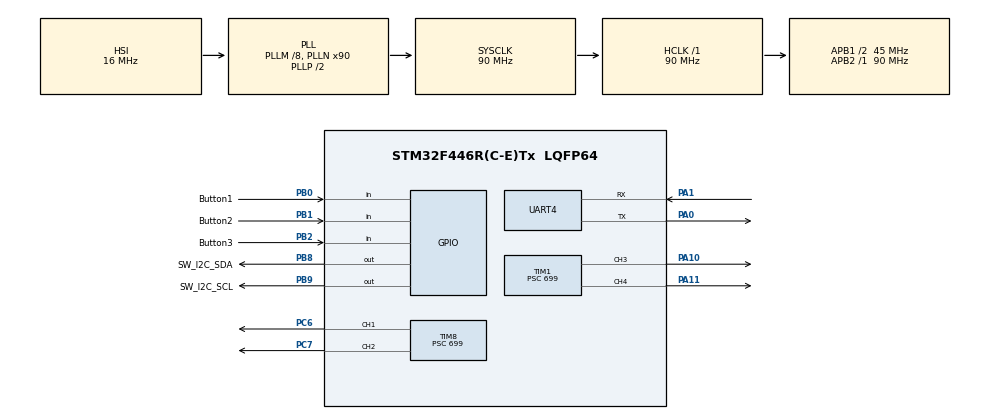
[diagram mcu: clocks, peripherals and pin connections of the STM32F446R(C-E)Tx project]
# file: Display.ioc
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Mcu.Family=STM32F4
Mcu.Name=STM32F446R(C-E)Tx
Mcu.Package=LQFP64
NVIC.PriorityGroup=NVIC_PRIORITYGROUP_0
NVIC.TIM3_IRQn=true\:0\:0\:false\:false\:true\:true\:true\:true
NVIC.UART4_IRQn=true\:0\:0\:false\:false\:true\:true\:true\:true
PA0-WKUP.Mode=Asynchronous
PA0-WKUP.Signal=UART4_TX
PA1.Mode=Asynchronous
PA1.Signal=UART4_RX
PA10.Signal=S_TIM1_CH3
PA11.Signal=S_TIM1_CH4
PA13.GPIO_Label=TMS
PA13.Mode=Serial_Wire
PA13.Signal=SYS_JTMS-SWDIO
PA14.GPIO_Label=TCK
PA14.Mode=Serial_Wire
PA14.Signal=SYS_JTCK-SWCLK
PB0.GPIO_Label=Button1
PB0.Signal=GPIO_Input
PB1.GPIO_Label=Button2
PB1.Signal=GPIO_Input
PB2.GPIO_Label=Button3
PB2.Signal=GPIO_Input
PB3.Signal=SYS_JTDO-SWO
PB8.GPIO_Label=SW_I2C_SDA
PB8.GPIO_ModeDefaultOutputPP=GPIO_MODE_OUTPUT_OD
PB8.GPIO_PuPd=GPIO_PULLUP
PB8.GPIO_Speed=GPIO_SPEED_FREQ_VERY_HIGH
PB8.Signal=GPIO_Output
PB9.GPIO_Label=SW_I2C_SCL
PB9.GPIO_ModeDefaultOutputPP=GPIO_MODE_OUTPUT_OD
PB9.GPIO_PuPd=GPIO_PULLUP
PB9.GPIO_Speed=GPIO_SPEED_FREQ_VERY_HIGH
PB9.Signal=GPIO_Output
PC6.Signal=S_TIM8_CH1
PC7.Signal=S_TIM8_CH2
ProjectManager.HeapSize=0x200
ProjectManager.StackSize=0x400
ProjectManager.TargetToolchain=STM32CubeIDE
RCC.48MHZClocksFreq_Value=84000000
RCC.AHBFreq_Value=90000000
RCC.APB1CLKDivider=RCC_HCLK_DIV2
RCC.APB1Freq_Value=45000000
RCC.APB1TimFreq_Value=90000000
RCC.APB2Freq_Value=90000000
RCC.APB2TimFreq_Value=90000000
RCC.CortexFreq_Value=90000000
RCC.FLatency-AdvancedSettings=FLASH_LATENCY_2
RCC.HCLKFreq_Value=90000000
RCC.HSE_VALUE=8000000
RCC.HSI_VALUE=16000000
RCC.PLLM=8
RCC.PLLN=90
RCC.SYSCLKFreq_VALUE=90000000
RCC.SYSCLKSource=RCC_SYSCLKSOURCE_PLLCLK
RCC.USBFreq_Value=90000000
RCC.VCOOutputFreq_Value=180000000
SH.S_TIM1_CH3.0=TIM1_CH3,PWM Generation3 CH3
SH.S_TIM1_CH4.0=TIM1_CH4,PWM Generation4 CH4
SH.S_TIM8_CH1.0=TIM8_CH1,PWM Generation1 CH1
SH.S_TIM8_CH2.0=TIM8_CH2,PWM Generation2 CH2
TIM1.AutoReloadPreload=TIM_AUTORELOAD_PRELOAD_ENABLE
TIM1.Channel-PWM\ Generation3\ CH3=TIM_CHANNEL_3
TIM1.Channel-PWM\ Generation4\ CH4=TIM_CHANNEL_4
TIM1.CounterMode=TIM_COUNTERMODE_CENTERALIGNED1
TIM1.OCMode_PWM-PWM\ Generation4\ CH4=TIM_OCMODE_PWM2
TIM1.Period=6
TIM1.Prescaler=699
TIM1.RepetitionCounter=0
TIM1.TIM_MasterOutputTrigger=TIM_TRGO_RESET
TIM1.TIM_MasterSlaveMode=TIM_MASTERSLAVEMODE_DISABLE
TIM2.AutoReloadPreload=TIM_AUTORELOAD_PRELOAD_ENABLE
TIM2.Period=1
TIM2.Prescaler=5
TIM2.TIM_MasterOutputTrigger=TIM_TRGO_UPDATE
TIM2.TIM_MasterSlaveMode=TIM_MASTERSLAVEMODE_ENABLE
TIM3.Period=99
TIM3.Prescaler=8399
TIM8.AutoReloadPreload=TIM_AUTORELOAD_PRELOAD_ENABLE
TIM8.Channel-PWM\ Generation1\ CH1=TIM_CHANNEL_1
TIM8.Channel-PWM\ Generation2\ CH2=TIM_CHANNEL_2
TIM8.CounterMode=TIM_COUNTERMODE_CENTERALIGNED1
TIM8.OCMode_PWM-PWM\ Generation1\ CH1=TIM_OCMODE_PWM2
TIM8.OCMode_PWM-PWM\ Generation2\ CH2=TIM_OCMODE_PWM1
TIM8.Period=6
TIM8.Prescaler=699
UART4.Parity=PARITY_EVEN
UART4.StopBits=UART_STOPBITS_1
UART4.VirtualMode=Asynchronous
UART4.WordLength=WORDLENGTH_9B
VP_TIM1_VS_ClockSourceITR.Mode=TriggerSource_ITR1
VP_TIM1_VS_ControllerModeClock.Mode=Clock Mode
VP_TIM2_VS_ClockSourceINT.Mode=Internal
VP_TIM3_VS_ClockSourceINT.Mode=Internal
VP_TIM8_VS_ClockSourceITR.Mode=TriggerSource_ITR1
VP_TIM8_VS_ControllerModeClock.Mode=Clock Mode
board=NUCLEO-F446RE

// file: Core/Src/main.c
/* USER CODE BEGIN Header */
/**
  ******************************************************************************
  * @file           : main.c
  * @brief          : Main program body
  ******************************************************************************
  * @attention
  *
  * Copyright (c) 2025 STMicroelectronics.
  * All rights reserved.
  *
  * This software is licensed under terms that can be found in the LICENSE file
  * in the root directory of this software component.
  * If no LICENSE file comes with this software, it is provided AS-IS.
  *
  ******************************************************************************
  */
/* USER CODE END Header */
#include "main.h"

/* USER CODE BEGIN Includes */
#include "stm32_sw_i2c.h"
#include "dwt_stm32_delay.h"
#include "Adafruit_LEDBackpack.h"

/* USER CODE END Includes */

/* USER CODE BEGIN PD */
#define RECIEVE_LENGTH 9
/* USER CODE END PD */

TIM_HandleTypeDef htim1;
TIM_HandleTypeDef htim2;
TIM_HandleTypeDef htim3;
TIM_HandleTypeDef htim8;

UART_HandleTypeDef huart4;

/* USER CODE BEGIN PV */
uint8_t msFlag = 0;
uint8_t rxFlag = 0;

uint8_t rx_buff[RECIEVE_LENGTH];

uint32_t stepperFreq = 100;

DisplayData test;
/* USER CODE END PV */

void SystemClock_Config(void);
static void MX_GPIO_Init(void);
static void MX_TIM1_Init(void);
static void MX_TIM8_Init(void);
static void MX_TIM2_Init(void);
static void MX_TIM3_Init(void);
static void MX_UART4_Init(void);

int main(void)
{

  /* MCU Configuration--------------------------------------------------------*/

  /* Reset of all peripherals, Initializes the Flash interface and the Systick. */
  HAL_Init();

  /* Configure the system clock */
  SystemClock_Config();

  /* Initialize all configured peripherals */
  MX_GPIO_Init();
  MX_TIM1_Init();
  MX_TIM8_Init();
  MX_TIM2_Init();
  MX_TIM3_Init();
  MX_UART4_Init();
  /* USER CODE BEGIN 2 */

  I2C_init();
  DWT_Delay_Init();
  HAL_Delay(1);

  TIM8->CNT = 2;

  begin(0x70 <<1);
  begin(0x71 <<1);

  clear();
  writeDisplay();

for (uint8_t i = 0; i < 8; ++i) {
	writeDigitAscii(i, i+65, false);
	//writeDigitRaw(i, 0xFFFF);

}

HAL_UART_Receive_IT(&huart4, rx_buff, RECIEVE_LENGTH);

changeFreq(stepperFreq);

writeDisplay();

analogStart();

  /* USER CODE END 2 */

  /* Infinite loop */
  /* USER CODE BEGIN WHILE */
  while (1)
  {
	  if(msFlag){
		  msHandler();
	  }

	  if(rxFlag){
	  		  rxHandler(&test);
	  	  }

    /* USER CODE END WHILE */

  }
}

void SystemClock_Config(void)
{
  RCC_OscInitTypeDef RCC_OscInitStruct = {0};
  RCC_ClkInitTypeDef RCC_ClkInitStruct = {0};

  /** Configure the main internal regulator output voltage
  */
  __HAL_RCC_PWR_CLK_ENABLE();
  __HAL_PWR_VOLTAGESCALING_CONFIG(PWR_REGULATOR_VOLTAGE_SCALE3);

  /** Initializes the RCC Oscillators according to the specified parameters
  * in the RCC_OscInitTypeDef structure.
  */
  RCC_OscInitStruct.OscillatorType = RCC_OSCILLATORTYPE_HSI;
  RCC_OscInitStruct.HSIState = RCC_HSI_ON;
  RCC_OscInitStruct.HSICalibrationValue = RCC_HSICALIBRATION_DEFAULT;
  RCC_OscInitStruct.PLL.PLLState = RCC_PLL_ON;
  RCC_OscInitStruct.PLL.PLLSource = RCC_PLLSOURCE_HSI;
  RCC_OscInitStruct.PLL.PLLM = 8;
  RCC_OscInitStruct.PLL.PLLN = 90;
  RCC_OscInitStruct.PLL.PLLP = RCC_PLLP_DIV2;
  RCC_OscInitStruct.PLL.PLLQ = 2;
  RCC_OscInitStruct.PLL.PLLR = 2;
  if (HAL_RCC_OscConfig(&RCC_OscInitStruct) != HAL_OK)
  {
    Error_Handler();
  }

  /** Initializes the CPU, AHB and APB buses clocks
  */
  RCC_ClkInitStruct.ClockType = RCC_CLOCKTYPE_HCLK|RCC_CLOCKTYPE_SYSCLK
                              |RCC_CLOCKTYPE_PCLK1|RCC_CLOCKTYPE_PCLK2;
  RCC_ClkInitStruct.SYSCLKSource = RCC_SYSCLKSOURCE_PLLCLK;
  RCC_ClkInitStruct.AHBCLKDivider = RCC_SYSCLK_DIV1;
  RCC_ClkInitStruct.APB1CLKDivider = RCC_HCLK_DIV2;
  RCC_ClkInitStruct.APB2CLKDivider = RCC_HCLK_DIV1;

  if (HAL_RCC_ClockConfig(&RCC_ClkInitStruct, FLASH_LATENCY_2) != HAL_OK)
  {
    Error_Handler();
  }
}

static void MX_TIM1_Init(void)
{

  TIM_SlaveConfigTypeDef sSlaveConfig = {0};
  TIM_MasterConfigTypeDef sMasterConfig = {0};
  TIM_OC_InitTypeDef sConfigOC = {0};
  TIM_BreakDeadTimeConfigTypeDef sBreakDeadTimeConfig = {0};

  htim1.Instance = TIM1;
  htim1.Init.Prescaler = 699;
  htim1.Init.CounterMode = TIM_COUNTERMODE_CENTERALIGNED1;
  htim1.Init.Period = 6;
  htim1.Init.ClockDivision = TIM_CLOCKDIVISION_DIV1;
  htim1.Init.RepetitionCounter = 0;
  htim1.Init.AutoReloadPreload = TIM_AUTORELOAD_PRELOAD_ENABLE;
  if (HAL_TIM_Base_Init(&htim1) != HAL_OK)
  {
    Error_Handler();
  }
  if (HAL_TIM_PWM_Init(&htim1) != HAL_OK)
  {
    Error_Handler();
  }
  sSlaveConfig.SlaveMode = TIM_SLAVEMODE_EXTERNAL1;
  sSlaveConfig.InputTrigger = TIM_TS_ITR1;
  if (HAL_TIM_SlaveConfigSynchro(&htim1, &sSlaveConfig) != HAL_OK)
  {
    Error_Handler();
  }
  sMasterConfig.MasterOutputTrigger = TIM_TRGO_RESET;
  sMasterConfig.MasterSlaveMode = TIM_MASTERSLAVEMODE_DISABLE;
  if (HAL_TIMEx_MasterConfigSynchronization(&htim1, &sMasterConfig) != HAL_OK)
  {
    Error_Handler();
  }
  sConfigOC.OCMode = TIM_OCMODE_PWM1;
  sConfigOC.Pulse = 0;
  sConfigOC.OCPolarity = TIM_OCPOLARITY_HIGH;
  sConfigOC.OCNPolarity = TIM_OCNPOLARITY_HIGH;
  sConfigOC.OCFastMode = TIM_OCFAST_DISABLE;
  sConfigOC.OCIdleState = TIM_OCIDLESTATE_RESET;
  sConfigOC.OCNIdleState = TIM_OCNIDLESTATE_RESET;
  if (HAL_TIM_PWM_ConfigChannel(&htim1, &sConfigOC, TIM_CHANNEL_3) != HAL_OK)
  {
    Error_Handler();
  }
  sConfigOC.OCMode = TIM_OCMODE_PWM2;
  if (HAL_TIM_PWM_ConfigChannel(&htim1, &sConfigOC, TIM_CHANNEL_4) != HAL_OK)
  {
    Error_Handler();
  }
  sBreakDeadTimeConfig.OffStateRunMode = TIM_OSSR_DISABLE;
  sBreakDeadTimeConfig.OffStateIDLEMode = TIM_OSSI_DISABLE;
  sBreakDeadTimeConfig.LockLevel = TIM_LOCKLEVEL_OFF;
  sBreakDeadTimeConfig.DeadTime = 0;
  sBreakDeadTimeConfig.BreakState = TIM_BREAK_DISABLE;
  sBreakDeadTimeConfig.BreakPolarity = TIM_BREAKPOLARITY_HIGH;
  sBreakDeadTimeConfig.AutomaticOutput = TIM_AUTOMATICOUTPUT_DISABLE;
  if (HAL_TIMEx_ConfigBreakDeadTime(&htim1, &sBreakDeadTimeConfig) != HAL_OK)
  {
    Error_Handler();
  }
  HAL_TIM_MspPostInit(&htim1);

}

static void MX_TIM2_Init(void)
{

  TIM_ClockConfigTypeDef sClockSourceConfig = {0};
  TIM_MasterConfigTypeDef sMasterConfig = {0};

  htim2.Instance = TIM2;
  htim2.Init.Prescaler = 5;
  htim2.Init.CounterMode = TIM_COUNTERMODE_UP;
  htim2.Init.Period = 1;
  htim2.Init.ClockDivision = TIM_CLOCKDIVISION_DIV1;
  htim2.Init.AutoReloadPreload = TIM_AUTORELOAD_PRELOAD_ENABLE;
  if (HAL_TIM_Base_Init(&htim2) != HAL_OK)
  {
    Error_Handler();
  }
  sClockSourceConfig.ClockSource = TIM_CLOCKSOURCE_INTERNAL;
  if (HAL_TIM_ConfigClockSource(&htim2, &sClockSourceConfig) != HAL_OK)
  {
    Error_Handler();
  }
  sMasterConfig.MasterOutputTrigger = TIM_TRGO_UPDATE;
  sMasterConfig.MasterSlaveMode = TIM_MASTERSLAVEMODE_ENABLE;
  if (HAL_TIMEx_MasterConfigSynchronization(&htim2, &sMasterConfig) != HAL_OK)
  {
    Error_Handler();
  }

}

static void MX_TIM3_Init(void)
{

  TIM_ClockConfigTypeDef sClockSourceConfig = {0};
  TIM_MasterConfigTypeDef sMasterConfig = {0};

  htim3.Instance = TIM3;
  htim3.Init.Prescaler = 8399;
  htim3.Init.CounterMode = TIM_COUNTERMODE_UP;
  htim3.Init.Period = 99;
  htim3.Init.ClockDivision = TIM_CLOCKDIVISION_DIV1;
  htim3.Init.AutoReloadPreload = TIM_AUTORELOAD_PRELOAD_DISABLE;
  if (HAL_TIM_Base_Init(&htim3) != HAL_OK)
  {
    Error_Handler();
  }
  sClockSourceConfig.ClockSource = TIM_CLOCKSOURCE_INTERNAL;
  if (HAL_TIM_ConfigClockSource(&htim3, &sClockSourceConfig) != HAL_OK)
  {
    Error_Handler();
  }
  sMasterConfig.MasterOutputTrigger = TIM_TRGO_RESET;
  sMasterConfig.MasterSlaveMode = TIM_MASTERSLAVEMODE_DISABLE;
  if (HAL_TIMEx_MasterConfigSynchronization(&htim3, &sMasterConfig) != HAL_OK)
  {
    Error_Handler();
  }

}

static void MX_TIM8_Init(void)
{

  TIM_SlaveConfigTypeDef sSlaveConfig = {0};
  TIM_MasterConfigTypeDef sMasterConfig = {0};
  TIM_OC_InitTypeDef sConfigOC = {0};
  TIM_BreakDeadTimeConfigTypeDef sBreakDeadTimeConfig = {0};

  htim8.Instance = TIM8;
  htim8.Init.Prescaler = 699;
  htim8.Init.CounterMode = TIM_COUNTERMODE_CENTERALIGNED1;
  htim8.Init.Period = 6;
  htim8.Init.ClockDivision = TIM_CLOCKDIVISION_DIV1;
  htim8.Init.RepetitionCounter = 0;
  htim8.Init.AutoReloadPreload = TIM_AUTORELOAD_PRELOAD_ENABLE;
  if (HAL_TIM_Base_Init(&htim8) != HAL_OK)
  {
    Error_Handler();
  }
  if (HAL_TIM_PWM_Init(&htim8) != HAL_OK)
  {
    Error_Handler();
  }
  sSlaveConfig.SlaveMode = TIM_SLAVEMODE_EXTERNAL1;
  sSlaveConfig.InputTrigger = TIM_TS_ITR1;
  if (HAL_TIM_SlaveConfigSynchro(&htim8, &sSlaveConfig) != HAL_OK)
  {
    Error_Handler();
  }
  sMasterConfig.MasterOutputTrigger = TIM_TRGO_RESET;
  sMasterConfig.MasterSlaveMode = TIM_MASTERSLAVEMODE_DISABLE;
  if (HAL_TIMEx_MasterConfigSynchronization(&htim8, &sMasterConfig) != HAL_OK)
  {
    Error_Handler();
  }
  sConfigOC.OCMode = TIM_OCMODE_PWM2;
  sConfigOC.Pulse = 0;
  sConfigOC.OCPolarity = TIM_OCPOLARITY_HIGH;
  sConfigOC.OCNPolarity = TIM_OCNPOLARITY_HIGH;
  sConfigOC.OCFastMode = TIM_OCFAST_DISABLE;
  sConfigOC.OCIdleState = TIM_OCIDLESTATE_RESET;
  sConfigOC.OCNIdleState = TIM_OCNIDLESTATE_RESET;
  if (HAL_TIM_PWM_ConfigChannel(&htim8, &sConfigOC, TIM_CHANNEL_1) != HAL_OK)
  {
    Error_Handler();
  }
  sConfigOC.OCMode = TIM_OCMODE_PWM1;
  if (HAL_TIM_PWM_ConfigChannel(&htim8, &sConfigOC, TIM_CHANNEL_2) != HAL_OK)
  {
    Error_Handler();
  }
  sBreakDeadTimeConfig.OffStateRunMode = TIM_OSSR_DISABLE;
  sBreakDeadTimeConfig.OffStateIDLEMode = TIM_OSSI_DISABLE;
  sBreakDeadTimeConfig.LockLevel = TIM_LOCKLEVEL_OFF;
  sBreakDeadTimeConfig.DeadTime = 0;
  sBreakDeadTimeConfig.BreakState = TIM_BREAK_DISABLE;
  sBreakDeadTimeConfig.BreakPolarity = TIM_BREAKPOLARITY_HIGH;
  sBreakDeadTimeConfig.AutomaticOutput = TIM_AUTOMATICOUTPUT_DISABLE;
  if (HAL_TIMEx_ConfigBreakDeadTime(&htim8, &sBreakDeadTimeConfig) != HAL_OK)
  {
    Error_Handler();
  }
  HAL_TIM_MspPostInit(&htim8);

}

static void MX_UART4_Init(void)
{

  huart4.Instance = UART4;
  huart4.Init.BaudRate = 115200;
  huart4.Init.WordLength = UART_WORDLENGTH_9B;
  huart4.Init.StopBits = UART_STOPBITS_1;
  huart4.Init.Parity = UART_PARITY_EVEN;
  huart4.Init.Mode = UART_MODE_TX_RX;
  huart4.Init.HwFlowCtl = UART_HWCONTROL_NONE;
  huart4.Init.OverSampling = UART_OVERSAMPLING_16;
  if (HAL_UART_Init(&huart4) != HAL_OK)
  {
    Error_Handler();
  }

}

static void MX_GPIO_Init(void)
{
  GPIO_InitTypeDef GPIO_InitStruct = {0};

  /* GPIO Ports Clock Enable */
  __HAL_RCC_GPIOA_CLK_ENABLE();
  __HAL_RCC_GPIOB_CLK_ENABLE();
  __HAL_RCC_GPIOC_CLK_ENABLE();

  /*Configure GPIO pin Output Level */
  HAL_GPIO_WritePin(GPIOB, SW_I2C_SDA_Pin|SW_I2C_SCL_Pin, GPIO_PIN_RESET);

  /*Configure GPIO pins : Button1_Pin Button2_Pin Button3_Pin */
  GPIO_InitStruct.Pin = Button1_Pin|Button2_Pin|Button3_Pin;
  GPIO_InitStruct.Mode = GPIO_MODE_INPUT;
  GPIO_InitStruct.Pull = GPIO_NOPULL;
  HAL_GPIO_Init(GPIOB, &GPIO_InitStruct);

  /*Configure GPIO pins : SW_I2C_SDA_Pin SW_I2C_SCL_Pin */
  GPIO_InitStruct.Pin = SW_I2C_SDA_Pin|SW_I2C_SCL_Pin;
  GPIO_InitStruct.Mode = GPIO_MODE_OUTPUT_OD;
  GPIO_InitStruct.Pull = GPIO_PULLUP;
  GPIO_InitStruct.Speed = GPIO_SPEED_FREQ_VERY_HIGH;
  HAL_GPIO_Init(GPIOB, &GPIO_InitStruct);

}

/* USER CODE BEGIN 4 */
void changDir(uint8_t dir){
	TIM2->CR1 &= 0xFFFE;
	//TIM8->CR1 &= 0xFFFE;

	if(dir == 1){
		TIM1->CNT = 0;
		TIM8->CNT = 2;

		TIM1->CCR3 = 4;
		TIM1->CCR4 = 2;

		TIM8->CCR1 = 2;
		TIM8->CCR2 = 4;

	}else{
		TIM1->CNT = 2;
		TIM8->CNT = 0;

		TIM1->CCR3 = 2;
		TIM1->CCR4 = 4;

		TIM8->CCR1 = 4;
		TIM8->CCR2 = 2;

	}

	TIM2->CR1 |= 0x0001;
	//TIM8->CR1 |= 0x0001;
}

void analogStart(void){
	 TIM1->CCR3 = 2;
	 TIM1->CCR4 = 4;
	 HAL_TIM_PWM_Start(&htim1, TIM_CHANNEL_3);
	 HAL_TIM_PWM_Start(&htim1, TIM_CHANNEL_4);

	TIM8->CCR1 = 2;
	TIM8->CCR2 = 4;

	HAL_TIM_PWM_Start(&htim8, TIM_CHANNEL_1);
	HAL_TIM_PWM_Start(&htim8, TIM_CHANNEL_2);
	//HAL_TIM_Base_Start(&htim2);
}

void changeFreq(uint16_t freq){
	TIM2->PSC = 5000/freq;
}

void stepNum(uint8_t direction, uint16_t numSteps){
 changDir(direction);
}

void msHandler(void){
	msFlag = 0;

	static uint8_t B0 =0;
	static uint8_t B1 =0;
	static uint8_t B2 =0;

	B0 <<= 1;
	B1 <<= 1;
	B2 <<= 1;

	B0 |= HAL_GPIO_ReadPin(GPIOB, GPIO_PIN_0);// == SET ? 1 : 0;
	B1 |= HAL_GPIO_ReadPin(GPIOB, GPIO_PIN_1);// == SET ? 1 : 0;
	B2 |= HAL_GPIO_ReadPin(GPIOB, GPIO_PIN_2);// == SET ? 1 : 0;

	if(B0 == 0x7F){
		buttonHandler(0);
	}

	if(B1 == 0x7F){
			buttonHandler(1);
		}

	if(B2 == 0x7F){
			buttonHandler(2);
		}

	//for (int i = 0; i < 4; ++i) {
//			writeDigitAscii(i, rx_buff[i], false);
		//}

	//	writeDisplay();

}

void rxHandler(DisplayData *dispBuff){
	rxFlag = 0;

	parseMessage(dispBuff);

	while(HAL_UART_Receive_IT(&huart4, rx_buff, RECIEVE_LENGTH) == HAL_BUSY);
}

void buttonHandler(uint8_t button){

	switch (button){
		case 0:
			stepperFreq = stepperFreq <= 10 ? 10 : stepperFreq - 10;
			break;

		case 1:

			writeString(0, "TEST", 4);
			writeDisplay();
			test.dir = test.dir == 1 ? -1 : 1;
			changDir(test.dir);
			return;
			break;

		case 2:
			stepperFreq += 10;
			break;

		default:
			writeString(0, "fail", 4);
			writeDisplay();
			return;

	}

	//uint8_t spot = 0;

	/*for(uint32_t i = 100000000; i>=10; i = i/10){
		writeDigitNum(spot, (stepperFreq % i) / (i/10), false);

		spot++;
	}*/
	writeDisplay();

	changeFreq(stepperFreq);

}

void parseMessage(DisplayData * disp){

	uint8_t digitVal = 0;
	uint8_t *buff = rx_buff + 2;

	for(uint8_t i = 0; i< 6; ++i){

		digitVal = ((buff[i] & 0x0F) | (buff[i] >> 4)) == 0xF ? buff[i] & 0x0F : 10;

		writeDigitNum(i, digitVal, i == 2 ? true : false);

	}

	writeDisplay();

}

void HAL_UART_RxCpltCallback(UART_HandleTypeDef *huart)
{
	rxFlag = 1;
    HAL_UART_Receive_IT(&huart4, rx_buff, RECIEVE_LENGTH);

}

/* USER CODE END 4 */

void Error_Handler(void)
{
  __disable_irq();
  while (1)
  {
  }
}
